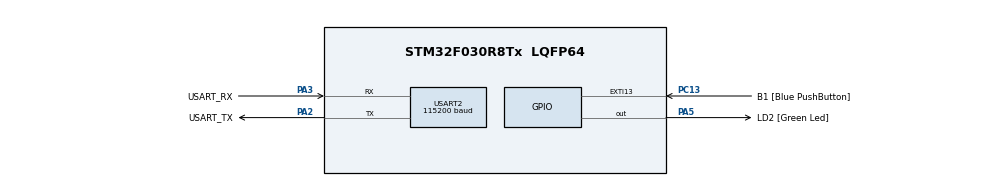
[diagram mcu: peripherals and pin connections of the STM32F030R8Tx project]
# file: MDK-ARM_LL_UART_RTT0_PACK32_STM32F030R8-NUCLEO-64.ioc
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Mcu.Family=STM32F0
Mcu.Name=STM32F030R8Tx
Mcu.Package=LQFP64
NVIC.USART2_IRQn=true\:0\:0\:false\:false\:true\:true\:true
PA13.GPIO_Label=TMS
PA13.Mode=Serial_Wire
PA13.Signal=SYS_SWDIO
PA14.GPIO_Label=TCK
PA14.Mode=Serial_Wire
PA14.Signal=SYS_SWCLK
PA2.GPIO_Label=USART_TX
PA2.GPIO_Mode=GPIO_MODE_AF_PP
PA2.GPIO_PuPd=GPIO_NOPULL
PA2.GPIO_Speed=GPIO_SPEED_FREQ_LOW
PA2.Mode=Asynchronous
PA2.Signal=USART2_TX
PA3.GPIO_Label=USART_RX
PA3.GPIO_Mode=GPIO_MODE_AF_PP
PA3.GPIO_PuPd=GPIO_NOPULL
PA3.GPIO_Speed=GPIO_SPEED_FREQ_LOW
PA3.Mode=Asynchronous
PA3.Signal=USART2_RX
PA5.GPIO_Label=LD2 [Green Led]
PA5.GPIO_Mode=GPIO_MODE_OUTPUT_PP
PA5.GPIO_PuPd=GPIO_NOPULL
PA5.GPIO_Speed=GPIO_SPEED_FREQ_LOW
PA5.Signal=GPIO_Output
PC13.GPIO_Label=B1 [Blue PushButton]
PC13.GPIO_ModeDefaultEXTI=GPIO_MODE_IT_FALLING
PC13.Signal=GPXTI13
PC14-OSC32_IN.Mode=LSE-External-Oscillator
PC14-OSC32_IN.Signal=RCC_OSC32_IN
PC15-OSC32_OUT.Mode=LSE-External-Oscillator
PC15-OSC32_OUT.Signal=RCC_OSC32_OUT
PF0-OSC_IN.Mode=HSE-External-Clock-Source
PF0-OSC_IN.Signal=RCC_OSC_IN
PF1-OSC_OUT.Signal=RCC_OSC_OUT
ProjectManager.HeapSize=0x200
ProjectManager.StackSize=0x400
ProjectManager.TargetToolchain=MDK-ARM V5.27
RCC.AHBFreq_Value=48000000
RCC.APB1Freq_Value=48000000
RCC.APB1TimFreq_Value=48000000
RCC.HCLKFreq_Value=48000000
RCC.PLLMUL=RCC_PLL_MUL12
RCC.SYSCLKFreq_VALUE=48000000
RCC.SYSCLKSource=RCC_SYSCLKSOURCE_PLLCLK
USART2.BaudRate=115200
USART2.VirtualMode-Asynchronous=VM_ASYNC
board=NUCLEO-F030R8

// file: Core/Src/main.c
/* USER CODE BEGIN Header */
/**
  ******************************************************************************
  * @file           : main.c
  * @brief          : Main program body
  ******************************************************************************
  * @attention
  *
  * <h2><center>&copy; Copyright (c) 2020 STMicroelectronics.
  * All rights reserved.</center></h2>
  *
  * This software component is licensed by ST under BSD 3-Clause license,
  * the "License"; You may not use this file except in compliance with the
  * License. You may obtain a copy of the License at:
  *                        opensource.org/licenses/BSD-3-Clause
  *
  ******************************************************************************
  */
/* USER CODE END Header */
#include "main.h"

/* USER CODE BEGIN Includes */
#include "trice.h"
#include "./intern/triceBareFifoToBytesBuffer.h"
/* USER CODE END Includes */

/* USER CODE BEGIN PV */
int milliSecond = 0;
/* USER CODE END PV */

void SystemClock_Config(void);
static void MX_GPIO_Init(void);
static void MX_USART2_UART_Init(void);

int main(void)
{

  /* MCU Configuration--------------------------------------------------------*/

  /* Reset of all peripherals, Initializes the Flash interface and the Systick. */

  LL_APB1_GRP2_EnableClock(LL_APB1_GRP2_PERIPH_SYSCFG);
  LL_APB1_GRP1_EnableClock(LL_APB1_GRP1_PERIPH_PWR);

  /* System interrupt init*/

  /* Configure the system clock */
  SystemClock_Config();

  /* USER CODE BEGIN SysInit */
    SysTick->CTRL |= SysTick_CTRL_TICKINT_Msk; // enable SysTick interrupt
  /* USER CODE END SysInit */

  /* Initialize all configured peripherals */
  MX_GPIO_Init();
  MX_USART2_UART_Init();
  /* USER CODE BEGIN 2 */
    LL_USART_EnableIT_RXNE(TRICE_UART); // enable UART2 interrupt
    memset(triceU8Fifo, 0xaa, 200 );
    TRICE16_1(Id(0x0201), "WR:write        message, SysTick is %6d\n", SYSTICKVAL16);
    TRICE16_1(Id(0x0201), "WR:write        message, SysTick is %6d\n", SYSTICKVAL16);
    TRICE16_1(Id(0x0201), "WR:write        message, SysTick is %6d\n", SYSTICKVAL16);
    TRICE16_1(Id(0x0201), "WR:write        message, SysTick is %6d\n", SYSTICKVAL16);
    TRICE0( Id(16472), "s:                                                    \ns:   MDK-ARM_LL_UART_RTT0_BAREL_STM32F030_NUCLEO-64   \ns:                                                    \n\n");
  /* USER CODE END 2 */

  /* Infinite loop */
  /* USER CODE BEGIN WHILE */
  while (1)
  {
    static int lastTricesTime = 0;
    { // send some trices every few ms
        if( milliSecond >= lastTricesTime + 100 ){
            static int index = 0;
            triceCheckSet(index%10);
            index++;
            lastTricesTime = milliSecond;
        }
    }
    /* USER CODE END WHILE */

    /* USER CODE BEGIN 3 */
        { // serve every few ms
            static int lastMs = 0;
            if( milliSecond >= lastMs + 1 ){
                lastMs = milliSecond;
                triceServeBareFifoSyncedToBytesBuffer();
            }
        }
  }
  /* USER CODE END 3 */
}

void SystemClock_Config(void)
{
  LL_FLASH_SetLatency(LL_FLASH_LATENCY_1);
  while(LL_FLASH_GetLatency() != LL_FLASH_LATENCY_1)
  {
  }
  LL_RCC_HSI_Enable();

   /* Wait till HSI is ready */
  while(LL_RCC_HSI_IsReady() != 1)
  {

  }
  LL_RCC_HSI_SetCalibTrimming(16);
  LL_RCC_PLL_ConfigDomain_SYS(LL_RCC_PLLSOURCE_HSI_DIV_2, LL_RCC_PLL_MUL_12);
  LL_RCC_PLL_Enable();

   /* Wait till PLL is ready */
  while(LL_RCC_PLL_IsReady() != 1)
  {

  }
  LL_RCC_SetAHBPrescaler(LL_RCC_SYSCLK_DIV_1);
  LL_RCC_SetAPB1Prescaler(LL_RCC_APB1_DIV_1);
  LL_RCC_SetSysClkSource(LL_RCC_SYS_CLKSOURCE_PLL);

   /* Wait till System clock is ready */
  while(LL_RCC_GetSysClkSource() != LL_RCC_SYS_CLKSOURCE_STATUS_PLL)
  {

  }
  LL_Init1msTick(48000000);
  LL_SetSystemCoreClock(48000000);
}

static void MX_USART2_UART_Init(void)
{

  LL_USART_InitTypeDef USART_InitStruct = {0};

  LL_GPIO_InitTypeDef GPIO_InitStruct = {0};

  /* Peripheral clock enable */
  LL_APB1_GRP1_EnableClock(LL_APB1_GRP1_PERIPH_USART2);

  LL_AHB1_GRP1_EnableClock(LL_AHB1_GRP1_PERIPH_GPIOA);
  /**USART2 GPIO Configuration
  PA2   ------> USART2_TX
  PA3   ------> USART2_RX
  */
  GPIO_InitStruct.Pin = USART_TX_Pin;
  GPIO_InitStruct.Mode = LL_GPIO_MODE_ALTERNATE;
  GPIO_InitStruct.Speed = LL_GPIO_SPEED_FREQ_LOW;
  GPIO_InitStruct.OutputType = LL_GPIO_OUTPUT_PUSHPULL;
  GPIO_InitStruct.Pull = LL_GPIO_PULL_NO;
  GPIO_InitStruct.Alternate = LL_GPIO_AF_1;
  LL_GPIO_Init(USART_TX_GPIO_Port, &GPIO_InitStruct);

  GPIO_InitStruct.Pin = USART_RX_Pin;
  GPIO_InitStruct.Mode = LL_GPIO_MODE_ALTERNATE;
  GPIO_InitStruct.Speed = LL_GPIO_SPEED_FREQ_LOW;
  GPIO_InitStruct.OutputType = LL_GPIO_OUTPUT_PUSHPULL;
  GPIO_InitStruct.Pull = LL_GPIO_PULL_NO;
  GPIO_InitStruct.Alternate = LL_GPIO_AF_1;
  LL_GPIO_Init(USART_RX_GPIO_Port, &GPIO_InitStruct);

  /* USART2 interrupt Init */
  NVIC_SetPriority(USART2_IRQn, 0);
  NVIC_EnableIRQ(USART2_IRQn);

  USART_InitStruct.BaudRate = 115200;
  USART_InitStruct.DataWidth = LL_USART_DATAWIDTH_8B;
  USART_InitStruct.StopBits = LL_USART_STOPBITS_1;
  USART_InitStruct.Parity = LL_USART_PARITY_NONE;
  USART_InitStruct.TransferDirection = LL_USART_DIRECTION_TX_RX;
  USART_InitStruct.HardwareFlowControl = LL_USART_HWCONTROL_NONE;
  USART_InitStruct.OverSampling = LL_USART_OVERSAMPLING_16;
  LL_USART_Init(USART2, &USART_InitStruct);
  LL_USART_DisableIT_CTS(USART2);
  LL_USART_ConfigAsyncMode(USART2);
  LL_USART_Enable(USART2);

}

static void MX_GPIO_Init(void)
{
  LL_EXTI_InitTypeDef EXTI_InitStruct = {0};
  LL_GPIO_InitTypeDef GPIO_InitStruct = {0};

  /* GPIO Ports Clock Enable */
  LL_AHB1_GRP1_EnableClock(LL_AHB1_GRP1_PERIPH_GPIOC);
  LL_AHB1_GRP1_EnableClock(LL_AHB1_GRP1_PERIPH_GPIOF);
  LL_AHB1_GRP1_EnableClock(LL_AHB1_GRP1_PERIPH_GPIOA);

  /**/
  LL_GPIO_ResetOutputPin(LD2_GPIO_Port, LD2_Pin);

  /**/
  LL_SYSCFG_SetEXTISource(LL_SYSCFG_EXTI_PORTC, LL_SYSCFG_EXTI_LINE13);

  /**/
  LL_GPIO_SetPinPull(B1_GPIO_Port, B1_Pin, LL_GPIO_PULL_NO);

  /**/
  LL_GPIO_SetPinMode(B1_GPIO_Port, B1_Pin, LL_GPIO_MODE_INPUT);

  /**/
  EXTI_InitStruct.Line_0_31 = LL_EXTI_LINE_13;
  EXTI_InitStruct.LineCommand = ENABLE;
  EXTI_InitStruct.Mode = LL_EXTI_MODE_IT;
  EXTI_InitStruct.Trigger = LL_EXTI_TRIGGER_FALLING;
  LL_EXTI_Init(&EXTI_InitStruct);

  /**/
  GPIO_InitStruct.Pin = LD2_Pin;
  GPIO_InitStruct.Mode = LL_GPIO_MODE_OUTPUT;
  GPIO_InitStruct.Speed = LL_GPIO_SPEED_FREQ_LOW;
  GPIO_InitStruct.OutputType = LL_GPIO_OUTPUT_PUSHPULL;
  GPIO_InitStruct.Pull = LL_GPIO_PULL_NO;
  LL_GPIO_Init(LD2_GPIO_Port, &GPIO_InitStruct);

}

void Error_Handler(void)
{
  __disable_irq();
  while (1)
  {
  }
}

/************************ (C) COPYRIGHT STMicroelectronics *****END OF FILE****/
